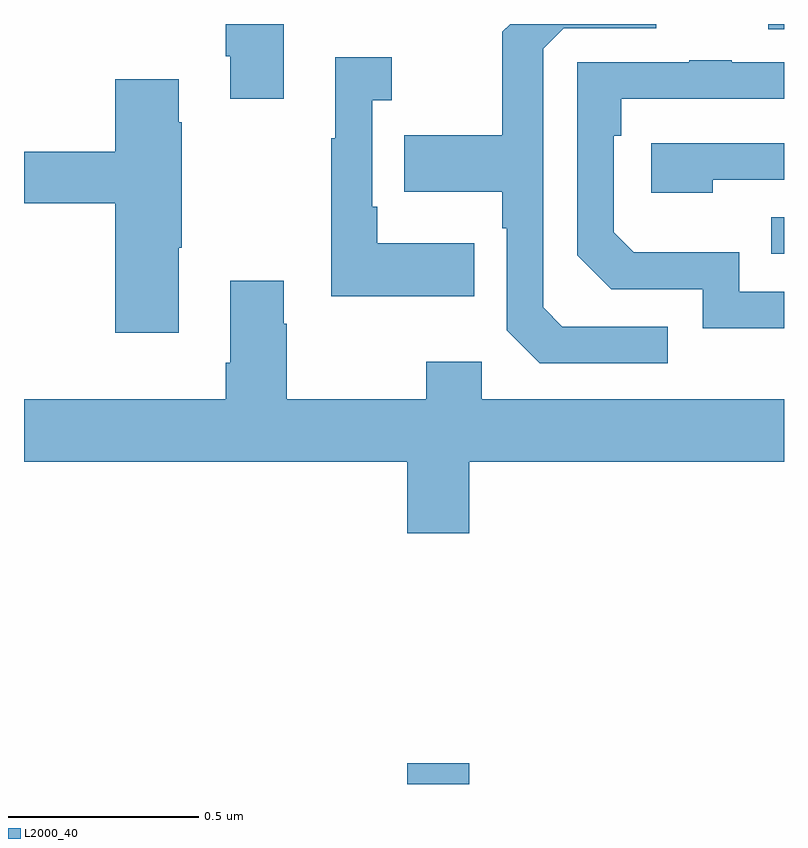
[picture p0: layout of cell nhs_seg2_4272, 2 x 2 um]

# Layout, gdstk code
import gdstk
lib = gdstk.Library(unit=1e-6, precision=1e-09)
def R(c, l, rs):  # rectangles x0, y0, x1, y1
    for r in rs: c.add(gdstk.rectangle(r[:2], r[2:], *l))
def P(c, l, *ps):  # polygons
    for p in ps: c.add(gdstk.Polygon(p, *l))
L2000_40 = (2000, 40)

nhs_seg2_4272 = lib.new_cell('nhs_seg2_4272')
R(nhs_seg2_4272, L2000_40, [(165.008,634.8,165.172,634.855), (165.967,636.195,166,636.291), (165.959,636.786,166,636.8)])
P(nhs_seg2_4272, L2000_40, [(164.683,636.8),(164.531,636.8),(164.531,636.715),(164.543,636.715),(164.543,636.603),(164.683,636.603)],
  [(165.694,636.003),(165.417,636.003),(165.366,636.054),(165.366,636.735),(165.42,636.789),(165.664,636.789),(165.664,636.8),(165.279,636.8),(165.258,636.779),(165.258,636.507),(165.001,636.507),(165.001,636.359),(165.258,636.359),(165.258,636.263),(165.27,636.263),(165.27,635.994),(165.357,635.907),(165.694,635.907)],
  [(165.185,636.223),(164.929,636.223),(164.929,636.319),(164.916,636.319),(164.916,636.599),(164.968,636.599),(164.968,636.712),(164.819,636.712),(164.819,636.499),(164.808,636.499),(164.808,636.083),(165.185,636.083)],
  [(166,636.096),(165.882,636.096),(165.882,636.199),(165.605,636.199),(165.552,636.252),(165.552,636.506),(165.572,636.506),(165.572,636.603),(166,636.603),(166,636.699),(165.863,636.699),(165.863,636.704),(165.751,636.704),(165.751,636.699),(165.456,636.699),(165.456,636.192),(165.546,636.102),(165.786,636.102),(165.786,636),(166,636)],
  [(164.407,636.211),(164.415,636.211),(164.415,636.542),(164.407,636.542),(164.407,636.655),(164.24,636.655),(164.24,636.464),(164,636.464),(164,636.328),(164.24,636.328),(164.24,635.988),(164.407,635.988)],
  [(165.812,636.39),(166,636.39),(166,636.486),(165.651,636.486),(165.651,636.356),(165.812,636.356)],
  [(165.172,635.648),(166,635.648),(166,635.812),(165.204,635.812),(165.204,635.911),(165.058,635.911),(165.058,635.812),(164.691,635.812),(164.691,636.011),(164.683,636.011),(164.683,636.124),(164.543,636.124),(164.543,635.908),(164.531,635.908),(164.531,635.812),(164,635.812),(164,635.648),(165.008,635.648),(165.008,635.46),(165.172,635.46)])

lib.write_gds('nhs_seg2_4272.gds')
